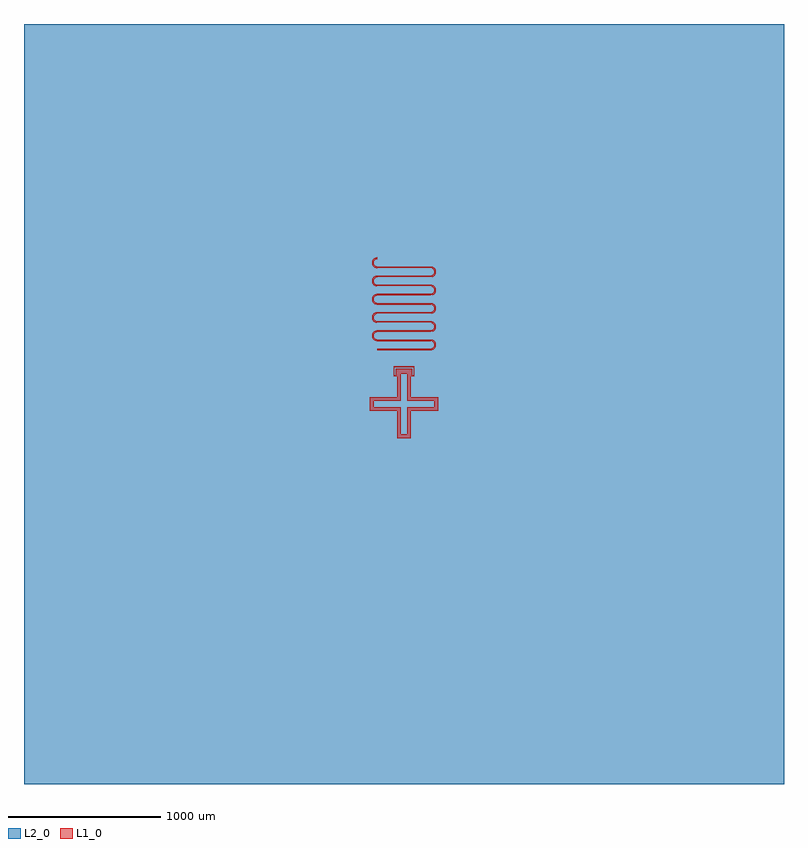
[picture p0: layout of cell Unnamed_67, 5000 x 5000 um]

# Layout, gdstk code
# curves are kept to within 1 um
import gdstk
lib = gdstk.Library(unit=1e-6, precision=1e-09)
def R(c, l, rs):  # rectangles x0, y0, x1, y1
    for r in rs: c.add(gdstk.rectangle(r[:2], r[2:], *l))
def P(c, l, *ps):  # polygons
    for p in ps: c.add(gdstk.Polygon(p, *l))
L1_0 = (1, 0)
L2_0 = (2, 0)

unnamed_68 = lib.new_cell('Unnamed_68')
P(unnamed_68, L1_0, [(-5,-5),(-5,55),(0,55),(0,0),(10,0),(10,45),(116,45),(116,0),(126,0),(126,55),(-5,55),(-5,60),(131,60),(131,-5),(111,-5),(111,40),(15,40),(15,-5)])

xmon_xl400_xw40_xs24 = lib.new_cell('xmon_XL400_XW40_XS24')
P(xmon_xl400_xw40_xs24, L1_0, [(-44,-224),(-44,-44),(-224,-44),(-224,44),(-44,44),(-44,200),(-20,200),(-20,20),(-200,20),(-200,-20),(-20,-20),(-20,-200),(20,-200),(20,-20),(200,-20),(200,20),(20,20),(20,200),(-44,200),(-44,224),(44,224),(44,44),(224,44),(224,-44),(44,-44),(44,-224)])

rectangle_s5000_5000_l2_ = lib.new_cell('rectangle_S5000_5000_L2_236c5bc9')
R(rectangle_s5000_5000_l2_, L2_0, [(0,0,5000,5000)])

unnamed_72 = lib.new_cell('Unnamed_72')
P(unnamed_72, L1_0, [(0,-5),(0,5),(349.96,5),(359.291,6.791),(366.069,10.849),(371.243,16.82),(374.295,24.106),(374.921,31.981),(373.058,39.658),(368.893,46.371),(362.842,51.449),(355.508,54.385),(-3.327,55.158),(-16.038,58.89),(-27.166,67.93),(-33.735,80.673),(-34.785,93.879),(-31.838,104.54),(-24.945,114.552),(-16.038,121.11),(-4.431,124.719),(351.586,125.051),(360.745,127.427),(368.893,133.629),(373.872,142.577),(374.921,151.981),(372.74,160.385),(367.252,168.093),(360.023,172.902),(351.586,174.949),(-7.711,175.859),(-17.017,179.415),(-24.945,185.448),(-30.851,193.47),(-34.259,202.832),(-34.891,212.774),(-32.696,222.491),(-27.852,231.197),(-20.752,238.185),(-11.971,242.89),(-1.11,244.983),(352.376,245.114),(361.455,247.78),(368.893,253.629),(373.872,262.577),(374.921,271.981),(372.74,280.385),(367.252,288.093),(360.023,292.902),(351.586,294.949),(-6.624,295.632),(-15.043,298.397),(-22.498,303.188),(-28.511,309.698),(-33.076,318.552),(-34.891,327.226),(-34.259,337.168),(-31.36,345.543),(-25.711,353.748),(-15.043,361.603),(-1.11,364.983),(352.376,365.114),(361.455,367.78),(368.893,373.629),(373.624,381.824),(374.971,391.19),(372.74,400.385),(367.817,407.536),(360.745,412.573),(351.586,414.949),(-6.624,415.632),(-15.043,418.397),(-22.498,423.188),(-28.511,429.698),(-32.696,437.509),(-34.785,453.879),(-32.696,462.491),(-28.511,470.302),(-16.038,481.11),(-1.11,484.983),(352.376,485.114),(361.455,487.78),(368.893,493.629),(373.624,501.824),(374.971,511.19),(372.74,520.385),(367.817,527.536),(360.745,532.573),(351.586,534.949),(-6.624,535.632),(-15.043,538.397),(-22.498,543.188),(-32.283,556.478),(-34.891,572.774),(-33.076,581.448),(-29.14,589.388),(-23.337,596.085),(-16.038,601.11),(0,605),(0,595),(-9.291,593.209),(-17.252,588.093),(-22.74,580.385),(-24.971,571.19),(-23.624,561.824),(-18.893,553.629),(-12.155,548.154),(-3.165,545.202),(351.11,544.983),(360.921,543.253),(369.847,538.829),(377.166,532.07),(382.696,522.491),(384.891,512.774),(384.259,502.832),(380.851,493.47),(374.945,485.448),(367.017,479.415),(357.711,475.859),(-1.586,474.949),(-10.745,472.573),(-17.817,467.536),(-23.058,459.658),(-24.996,450.397),(-23.353,441.078),(-18.364,433.038),(-10.745,427.427),(-1.586,425.051),(357.711,424.141),(367.979,420.03),(376.452,412.921),(381.838,404.54),(384.785,393.879),(384.259,382.832),(380.851,373.47),(374.945,365.448),(366.038,358.89),(350.04,355),(-1.586,354.949),(-10.745,352.573),(-18.364,346.962),(-23.353,338.922),(-24.996,329.603),(-23.058,320.342),(-17.817,312.464),(-10.745,307.427),(-1.586,305.051),(357.711,304.141),(367.017,300.585),(374.945,294.552),(380.851,286.53),(384.014,278.252),(384.961,268.335),(383.076,258.552),(378.511,249.698),(372.498,243.188),(361.971,237.11),(351.11,235.017),(-2.376,234.886),(-11.455,232.22),(-18.893,226.371),(-23.353,218.922),(-24.996,209.603),(-23.058,200.342),(-17.817,192.464),(-10.745,187.427),(-1.586,185.051),(356.624,184.368),(365.043,181.603),(372.498,176.812),(378.511,170.302),(383.076,161.448),(384.891,152.774),(384.259,142.832),(381.36,134.457),(376.452,127.079),(365.043,118.397),(351.11,115.017),(-2.376,114.886),(-11.455,112.22),(-18.893,106.371),(-23.353,98.922),(-24.996,89.603),(-23.058,80.342),(-17.817,72.464),(-10.745,67.427),(-1.586,65.051),(356.624,64.368),(365.043,61.603),(372.498,56.812),(382.283,43.522),(384.891,27.226),(383.076,18.552),(379.14,10.612),(367.017,-0.585),(351.11,-4.983)])
P(unnamed_72, L2_0, [(0,-11),(0,-5),(351.11,-4.983),(361.971,-2.89),(370.752,1.815),(377.852,8.803),(382.696,17.509),(384.891,27.226),(384.259,37.168),(380.851,46.53),(374.945,54.552),(367.017,60.585),(357.711,64.141),(350.04,65),(-1.586,65.051),(-10.745,67.427),(-17.817,72.464),(-23.058,80.342),(-24.996,89.603),(-23.353,98.922),(-18.364,106.962),(-10.745,112.573),(-1.586,114.949),(350.04,115),(357.711,115.859),(367.979,119.97),(376.452,127.079),(381.838,135.46),(384.785,146.121),(384.259,157.168),(380.851,166.53),(374.945,174.552),(366.038,181.11),(358.79,183.879),(350.04,185),(-1.586,185.051),(-10.745,187.427),(-18.893,193.629),(-23.624,201.824),(-24.971,211.19),(-22.74,220.385),(-17.817,227.536),(-10.745,232.573),(-1.586,234.949),(355.53,235.439),(361.971,237.11),(367.979,239.97),(377.166,247.93),(383.076,258.552),(384.644,265.019),(384.961,271.665),(384.014,278.252),(381.838,284.54),(374.945,294.552),(365.043,301.603),(353.327,304.842),(-4.731,305.452),(-10.745,307.427),(-16.669,311.369),(-20.814,316.152),(-23.872,322.577),(-24.971,328.81),(-24.295,335.894),(-21.65,342.5),(-17.817,347.536),(-10.023,352.902),(-0.793,354.987),(353.327,355.158),(359.861,356.417),(366.038,358.89),(371.636,362.488),(376.452,367.079),(380.311,372.5),(383.076,378.552),(384.644,385.019),(384.961,391.665),(384.014,398.252),(381.838,404.54),(374.945,414.552),(365.043,421.603),(353.327,424.842),(-4.731,425.452),(-10.745,427.427),(-16.069,430.849),(-20.364,435.499),(-23.353,441.078),(-24.845,447.229),(-24.745,453.558),(-23.058,459.658),(-19.894,465.14),(-16.069,469.151),(-11.455,472.22),(-6.279,474.198),(-0.793,474.987),(354.431,475.281),(366.038,478.89),(371.636,482.488),(376.452,487.079),(380.311,492.5),(383.076,498.552),(384.644,505.019),(384.961,511.665),(384.014,518.252),(381.838,524.54),(374.945,534.552),(365.043,541.603),(353.327,544.842),(-4.731,545.452),(-10.745,547.427),(-15.454,550.349),(-19.894,554.86),(-23.058,560.342),(-24.62,565.659),(-24.921,571.981),(-23.624,578.176),(-20.814,583.848),(-17.252,588.093),(-12.155,591.846),(-6.279,594.198),(0,595),(0,589),(-7.061,587.638),(-13.111,583.75),(-17.282,577.892),(-18.977,570.904),(-17.954,563.786),(-14.358,557.559),(-8.706,553.113),(-1.806,551.087),(351.301,550.981),(362.794,548.954),(373.25,543.772),(381.823,535.854),(387.818,525.841),(390.749,514.545),(390.132,501.603),(386.141,490.636),(379.221,481.239),(369.935,474.171),(359.033,470.006),(350.087,469),(-1.205,468.96),(-8.166,467.154),(-13.956,462.891),(-17.748,456.78),(-18.996,450.301),(-17.748,443.22),(-13.956,437.109),(-8.166,432.846),(-1.205,431.04),(350.087,431),(360.297,429.687),(372.167,424.493),(380.987,416.85),(387.818,405.841),(390.749,394.545),(390.132,381.603),(386.141,370.636),(379.221,361.239),(369.935,354.171),(360.297,350.313),(350.087,349),(-1.205,348.96),(-8.166,347.154),(-13.956,342.891),(-17.748,336.78),(-18.996,329.699),(-17.748,323.22),(-13.956,317.109),(-8.166,312.846),(-1.205,311.04),(350.087,311),(359.033,309.994),(369.935,305.829),(378.294,299.674),(385.508,290.501),(389.846,279.666),(390.955,268.049),(389.152,257.826),(384.137,247.289),(376.355,238.591),(371.061,234.821),(364.023,231.471),(351.301,229.019),(-1.205,228.96),(-8.166,227.154),(-13.956,222.891),(-17.748,216.78),(-18.996,209.699),(-17.748,203.22),(-13.956,197.109),(-8.166,192.846),(-1.205,191.04),(350.087,191),(359.033,189.994),(369.935,185.829),(378.294,179.674),(384.84,171.617),(389.152,162.174),(390.955,151.951),(390.132,141.603),(386.737,131.793),(380.987,123.15),(374.31,116.983),(367.622,112.979),(359.033,110.006),(351.301,109.019),(-1.806,108.913),(-8.706,106.887),(-13.956,102.891),(-17.748,96.78),(-18.996,89.699),(-17.748,83.22),(-13.956,77.109),(-8.166,72.846),(-1.205,71.04),(350.087,71),(357.76,70.26),(367.622,67.021),(376.355,61.409),(383.399,53.783),(387.818,45.841),(390.584,35.835),(390.749,25.455),(388.301,15.367),(384.137,7.289),(378.294,0.326),(369.935,-5.829),(361.551,-9.341),(351.301,-10.981)],
  [(0,5),(0,11),(349.913,11),(357.061,12.362),(362.668,15.841),(366.453,20.501),(368.596,26.109),(368.805,32.704),(367.023,38.437),(363.111,43.75),(357.617,47.405),(351.806,48.913),(-0.087,49),(-7.76,49.74),(-15.239,51.936),(-22.167,55.507),(-28.294,60.326),(-32.627,65.169),(-36.737,71.793),(-39.519,79.074),(-40.749,85.455),(-40.872,93.249),(-37.818,105.841),(-34.137,112.711),(-30.119,117.82),(-24.31,123.017),(-18.788,126.443),(-11.551,129.341),(-5.19,130.672),(351.205,131.04),(358.706,133.113),(364.746,138.02),(368.312,144.937),(368.882,152.106),(367.023,158.437),(363.111,163.75),(357.061,167.638),(350.603,168.989),(-0.087,169),(-9.033,170.006),(-19.935,174.171),(-29.221,181.239),(-36.141,190.636),(-40.132,201.603),(-40.872,213.249),(-38.301,224.633),(-32.627,234.831),(-24.31,243.017),(-14.023,248.529),(-1.301,250.981),(351.205,251.04),(358.706,253.113),(364.358,257.559),(367.954,263.786),(368.939,271.506),(367.023,278.437),(363.111,283.75),(357.617,287.405),(351.205,288.96),(-0.087,289),(-9.033,290.006),(-19.935,294.171),(-28.294,300.326),(-34.84,308.383),(-39.519,319.074),(-40.996,329.349),(-39.846,339.666),(-36.141,349.364),(-29.221,358.761),(-23.25,363.772),(-16.439,367.562),(-9.033,369.994),(-1.301,370.981),(351.806,371.087),(358.706,373.113),(364.746,378.02),(368.142,384.359),(368.939,391.506),(367.023,398.437),(363.111,403.75),(357.617,407.405),(351.205,408.96),(-0.087,409),(-7.76,409.74),(-17.622,412.979),(-26.355,418.591),(-33.399,426.217),(-37.818,434.159),(-40.584,444.165),(-40.749,454.545),(-38.301,464.633),(-33.399,473.783),(-27.338,480.557),(-19.935,485.829),(-11.551,489.341),(-1.301,490.981),(351.806,491.087),(358.706,493.113),(364.358,497.559),(367.954,503.786),(368.977,510.904),(367.282,517.892),(363.54,523.327),(357.617,527.405),(351.205,528.96),(-0.087,529),(-7.76,529.74),(-17.622,532.979),(-26.355,538.591),(-33.399,546.217),(-37.818,554.159),(-40.584,564.165),(-40.749,574.545),(-38.301,584.633),(-33.399,593.783),(-26.355,601.409),(-18.788,606.443),(-9.033,609.994),(0,611),(0,605),(-7.711,604.141),(-14.033,602.064),(-20.752,598.185),(-25.711,593.748),(-31.838,584.54),(-34.891,572.774),(-34.785,566.121),(-33.422,559.608),(-30.851,553.47),(-27.166,547.93),(-17.979,539.97),(-11.971,537.11),(-5.53,535.439),(349.96,535),(357.043,533.987),(364.176,530.591),(369.894,525.14),(373.353,518.922),(374.921,511.981),(374.469,504.88),(371.65,497.5),(367.252,491.907),(361.455,487.78),(354.731,485.452),(-3.327,484.842),(-9.861,483.583),(-16.038,481.11),(-25.711,473.748),(-29.741,468.453),(-32.696,462.491),(-34.996,450.555),(-33.076,438.552),(-30.311,432.5),(-26.452,427.079),(-21.636,422.488),(-16.038,418.89),(-9.861,416.417),(-3.327,415.158),(354.731,414.548),(362.155,411.846),(367.817,407.536),(372.399,401.101),(374.745,393.558),(374.62,385.659),(372.036,378.194),(367.252,371.907),(361.455,367.78),(355.508,365.615),(349.96,365),(-3.327,364.842),(-9.861,363.583),(-16.038,361.11),(-21.636,357.512),(-26.452,352.921),(-30.311,347.5),(-33.076,341.448),(-34.996,329.445),(-32.696,317.509),(-29.741,311.547),(-25.711,306.252),(-16.038,298.89),(-9.861,296.417),(-3.327,295.158),(354.731,294.548),(361.455,292.22),(367.252,288.093),(371.65,282.5),(374.295,275.894),(374.971,268.81),(373.624,261.824),(370.364,255.499),(365.454,250.349),(357.801,246.249),(349.96,245),(-3.327,244.842),(-9.861,243.583),(-16.038,241.11),(-21.636,237.512),(-26.452,232.921),(-30.311,227.5),(-33.076,221.448),(-34.996,209.445),(-32.696,197.509),(-29.741,191.547),(-25.711,186.252),(-16.038,178.89),(-9.861,176.417),(-3.327,175.158),(354.731,174.548),(360.745,172.573),(366.669,168.631),(370.814,163.848),(373.872,157.423),(374.971,151.19),(374.295,144.106),(372.036,138.194),(368.364,133.038),(360.745,127.427),(350.793,125.013),(-3.327,124.842),(-9.861,123.583),(-16.038,121.11),(-21.636,117.512),(-26.452,112.921),(-30.311,107.5),(-33.076,101.448),(-34.996,89.445),(-32.696,77.509),(-29.741,71.547),(-25.711,66.252),(-16.038,58.89),(-9.861,56.417),(-3.327,55.158),(354.731,54.548),(360.745,52.573),(366.069,49.151),(370.364,44.501),(373.353,38.922),(374.845,32.771),(374.745,26.442),(373.353,21.078),(370.364,15.499),(366.669,11.369),(362.155,8.154),(357.043,6.013),(350.793,5.013)])

unnamed_73 = lib.new_cell('Unnamed_73')
P(unnamed_73, L1_0, [(0,-5),(0,5),(349.96,5),(359.291,6.791),(366.069,10.849),(371.243,16.82),(374.295,24.106),(374.921,31.981),(373.058,39.658),(368.893,46.371),(362.842,51.449),(355.508,54.385),(-3.327,55.158),(-16.038,58.89),(-27.166,67.93),(-33.735,80.673),(-34.785,93.879),(-31.838,104.54),(-24.945,114.552),(-16.038,121.11),(-4.431,124.719),(351.586,125.051),(360.745,127.427),(368.893,133.629),(373.872,142.577),(374.921,151.981),(372.74,160.385),(367.252,168.093),(360.023,172.902),(351.586,174.949),(-7.711,175.859),(-17.017,179.415),(-24.945,185.448),(-30.851,193.47),(-34.259,202.832),(-34.891,212.774),(-32.696,222.491),(-27.852,231.197),(-20.752,238.185),(-11.971,242.89),(-1.11,244.983),(352.376,245.114),(361.455,247.78),(368.893,253.629),(373.872,262.577),(374.921,271.981),(372.74,280.385),(367.252,288.093),(360.023,292.902),(351.586,294.949),(-6.624,295.632),(-15.043,298.397),(-22.498,303.188),(-28.511,309.698),(-33.076,318.552),(-34.891,327.226),(-34.259,337.168),(-31.36,345.543),(-25.711,353.748),(-15.043,361.603),(-1.11,364.983),(352.376,365.114),(361.455,367.78),(368.893,373.629),(373.624,381.824),(374.971,391.19),(372.74,400.385),(367.817,407.536),(360.745,412.573),(351.586,414.949),(-6.624,415.632),(-15.043,418.397),(-22.498,423.188),(-28.511,429.698),(-32.696,437.509),(-34.785,453.879),(-32.696,462.491),(-28.511,470.302),(-16.038,481.11),(-1.11,484.983),(352.376,485.114),(361.455,487.78),(368.893,493.629),(373.624,501.824),(374.971,511.19),(372.74,520.385),(367.817,527.536),(360.745,532.573),(351.586,534.949),(-6.624,535.632),(-15.043,538.397),(-22.498,543.188),(-32.283,556.478),(-34.891,572.774),(-33.076,581.448),(-29.14,589.388),(-23.337,596.085),(-16.038,601.11),(0,605),(0,595),(-9.291,593.209),(-17.252,588.093),(-22.74,580.385),(-24.971,571.19),(-23.624,561.824),(-18.893,553.629),(-12.155,548.154),(-3.165,545.202),(351.11,544.983),(360.921,543.253),(369.847,538.829),(377.166,532.07),(382.696,522.491),(384.891,512.774),(384.259,502.832),(380.851,493.47),(374.945,485.448),(367.017,479.415),(357.711,475.859),(-1.586,474.949),(-10.745,472.573),(-17.817,467.536),(-23.058,459.658),(-24.996,450.397),(-23.353,441.078),(-18.364,433.038),(-10.745,427.427),(-1.586,425.051),(357.711,424.141),(367.979,420.03),(376.452,412.921),(381.838,404.54),(384.785,393.879),(384.259,382.832),(380.851,373.47),(374.945,365.448),(366.038,358.89),(350.04,355),(-1.586,354.949),(-10.745,352.573),(-18.364,346.962),(-23.353,338.922),(-24.996,329.603),(-23.058,320.342),(-17.817,312.464),(-10.745,307.427),(-1.586,305.051),(357.711,304.141),(367.017,300.585),(374.945,294.552),(380.851,286.53),(384.014,278.252),(384.961,268.335),(383.076,258.552),(378.511,249.698),(372.498,243.188),(361.971,237.11),(351.11,235.017),(-2.376,234.886),(-11.455,232.22),(-18.893,226.371),(-23.353,218.922),(-24.996,209.603),(-23.058,200.342),(-17.817,192.464),(-10.745,187.427),(-1.586,185.051),(356.624,184.368),(365.043,181.603),(372.498,176.812),(378.511,170.302),(383.076,161.448),(384.891,152.774),(384.259,142.832),(381.36,134.457),(376.452,127.079),(365.043,118.397),(351.11,115.017),(-2.376,114.886),(-11.455,112.22),(-18.893,106.371),(-23.353,98.922),(-24.996,89.603),(-23.058,80.342),(-17.817,72.464),(-10.745,67.427),(-1.586,65.051),(356.624,64.368),(365.043,61.603),(372.498,56.812),(382.283,43.522),(384.891,27.226),(383.076,18.552),(379.14,10.612),(367.017,-0.585),(351.11,-4.983)])
P(unnamed_73, L2_0, [(0,-11),(0,-5),(351.11,-4.983),(361.971,-2.89),(370.752,1.815),(377.852,8.803),(382.696,17.509),(384.891,27.226),(384.259,37.168),(380.851,46.53),(374.945,54.552),(367.017,60.585),(357.711,64.141),(350.04,65),(-1.586,65.051),(-10.745,67.427),(-17.817,72.464),(-23.058,80.342),(-24.996,89.603),(-23.353,98.922),(-18.364,106.962),(-10.745,112.573),(-1.586,114.949),(350.04,115),(357.711,115.859),(367.979,119.97),(376.452,127.079),(381.838,135.46),(384.785,146.121),(384.259,157.168),(380.851,166.53),(374.945,174.552),(366.038,181.11),(358.79,183.879),(350.04,185),(-1.586,185.051),(-10.745,187.427),(-18.893,193.629),(-23.624,201.824),(-24.971,211.19),(-22.74,220.385),(-17.817,227.536),(-10.745,232.573),(-1.586,234.949),(355.53,235.439),(361.971,237.11),(367.979,239.97),(377.166,247.93),(383.076,258.552),(384.644,265.019),(384.961,271.665),(384.014,278.252),(381.838,284.54),(374.945,294.552),(365.043,301.603),(353.327,304.842),(-4.731,305.452),(-10.745,307.427),(-16.669,311.369),(-20.814,316.152),(-23.872,322.577),(-24.971,328.81),(-24.295,335.894),(-21.65,342.5),(-17.817,347.536),(-10.023,352.902),(-0.793,354.987),(353.327,355.158),(359.861,356.417),(366.038,358.89),(371.636,362.488),(376.452,367.079),(380.311,372.5),(383.076,378.552),(384.644,385.019),(384.961,391.665),(384.014,398.252),(381.838,404.54),(374.945,414.552),(365.043,421.603),(353.327,424.842),(-4.731,425.452),(-10.745,427.427),(-16.069,430.849),(-20.364,435.499),(-23.353,441.078),(-24.845,447.229),(-24.745,453.558),(-23.058,459.658),(-19.894,465.14),(-16.069,469.151),(-11.455,472.22),(-6.279,474.198),(-0.793,474.987),(354.431,475.281),(366.038,478.89),(371.636,482.488),(376.452,487.079),(380.311,492.5),(383.076,498.552),(384.644,505.019),(384.961,511.665),(384.014,518.252),(381.838,524.54),(374.945,534.552),(365.043,541.603),(353.327,544.842),(-4.731,545.452),(-10.745,547.427),(-15.454,550.349),(-19.894,554.86),(-23.058,560.342),(-24.62,565.659),(-24.921,571.981),(-23.624,578.176),(-20.814,583.848),(-17.252,588.093),(-12.155,591.846),(-6.279,594.198),(0,595),(0,589),(-7.061,587.638),(-13.111,583.75),(-17.282,577.892),(-18.977,570.904),(-17.954,563.786),(-14.358,557.559),(-8.706,553.113),(-1.806,551.087),(351.301,550.981),(362.794,548.954),(373.25,543.772),(381.823,535.854),(387.818,525.841),(390.749,514.545),(390.132,501.603),(386.141,490.636),(379.221,481.239),(369.935,474.171),(359.033,470.006),(350.087,469),(-1.205,468.96),(-8.166,467.154),(-13.956,462.891),(-17.748,456.78),(-18.996,450.301),(-17.748,443.22),(-13.956,437.109),(-8.166,432.846),(-1.205,431.04),(350.087,431),(360.297,429.687),(372.167,424.493),(380.987,416.85),(387.818,405.841),(390.749,394.545),(390.132,381.603),(386.141,370.636),(379.221,361.239),(369.935,354.171),(360.297,350.313),(350.087,349),(-1.205,348.96),(-8.166,347.154),(-13.956,342.891),(-17.748,336.78),(-18.996,329.699),(-17.748,323.22),(-13.956,317.109),(-8.166,312.846),(-1.205,311.04),(350.087,311),(359.033,309.994),(369.935,305.829),(378.294,299.674),(385.508,290.501),(389.846,279.666),(390.955,268.049),(389.152,257.826),(384.137,247.289),(376.355,238.591),(371.061,234.821),(364.023,231.471),(351.301,229.019),(-1.205,228.96),(-8.166,227.154),(-13.956,222.891),(-17.748,216.78),(-18.996,209.699),(-17.748,203.22),(-13.956,197.109),(-8.166,192.846),(-1.205,191.04),(350.087,191),(359.033,189.994),(369.935,185.829),(378.294,179.674),(384.84,171.617),(389.152,162.174),(390.955,151.951),(390.132,141.603),(386.737,131.793),(380.987,123.15),(374.31,116.983),(367.622,112.979),(359.033,110.006),(351.301,109.019),(-1.806,108.913),(-8.706,106.887),(-13.956,102.891),(-17.748,96.78),(-18.996,89.699),(-17.748,83.22),(-13.956,77.109),(-8.166,72.846),(-1.205,71.04),(350.087,71),(357.76,70.26),(367.622,67.021),(376.355,61.409),(383.399,53.783),(387.818,45.841),(390.584,35.835),(390.749,25.455),(388.301,15.367),(384.137,7.289),(378.294,0.326),(369.935,-5.829),(361.551,-9.341),(351.301,-10.981)],
  [(0,5),(0,11),(349.913,11),(357.061,12.362),(362.668,15.841),(366.453,20.501),(368.596,26.109),(368.805,32.704),(367.023,38.437),(363.111,43.75),(357.617,47.405),(351.806,48.913),(-0.087,49),(-7.76,49.74),(-15.239,51.936),(-22.167,55.507),(-28.294,60.326),(-32.627,65.169),(-36.737,71.793),(-39.519,79.074),(-40.749,85.455),(-40.872,93.249),(-37.818,105.841),(-34.137,112.711),(-30.119,117.82),(-24.31,123.017),(-18.788,126.443),(-11.551,129.341),(-5.19,130.672),(351.205,131.04),(358.706,133.113),(364.746,138.02),(368.312,144.937),(368.882,152.106),(367.023,158.437),(363.111,163.75),(357.061,167.638),(350.603,168.989),(-0.087,169),(-9.033,170.006),(-19.935,174.171),(-29.221,181.239),(-36.141,190.636),(-40.132,201.603),(-40.872,213.249),(-38.301,224.633),(-32.627,234.831),(-24.31,243.017),(-14.023,248.529),(-1.301,250.981),(351.205,251.04),(358.706,253.113),(364.358,257.559),(367.954,263.786),(368.939,271.506),(367.023,278.437),(363.111,283.75),(357.617,287.405),(351.205,288.96),(-0.087,289),(-9.033,290.006),(-19.935,294.171),(-28.294,300.326),(-34.84,308.383),(-39.519,319.074),(-40.996,329.349),(-39.846,339.666),(-36.141,349.364),(-29.221,358.761),(-23.25,363.772),(-16.439,367.562),(-9.033,369.994),(-1.301,370.981),(351.806,371.087),(358.706,373.113),(364.746,378.02),(368.142,384.359),(368.939,391.506),(367.023,398.437),(363.111,403.75),(357.617,407.405),(351.205,408.96),(-0.087,409),(-7.76,409.74),(-17.622,412.979),(-26.355,418.591),(-33.399,426.217),(-37.818,434.159),(-40.584,444.165),(-40.749,454.545),(-38.301,464.633),(-33.399,473.783),(-27.338,480.557),(-19.935,485.829),(-11.551,489.341),(-1.301,490.981),(351.806,491.087),(358.706,493.113),(364.358,497.559),(367.954,503.786),(368.977,510.904),(367.282,517.892),(363.54,523.327),(357.617,527.405),(351.205,528.96),(-0.087,529),(-7.76,529.74),(-17.622,532.979),(-26.355,538.591),(-33.399,546.217),(-37.818,554.159),(-40.584,564.165),(-40.749,574.545),(-38.301,584.633),(-33.399,593.783),(-26.355,601.409),(-18.788,606.443),(-9.033,609.994),(0,611),(0,605),(-7.711,604.141),(-14.033,602.064),(-20.752,598.185),(-25.711,593.748),(-31.838,584.54),(-34.891,572.774),(-34.785,566.121),(-33.422,559.608),(-30.851,553.47),(-27.166,547.93),(-17.979,539.97),(-11.971,537.11),(-5.53,535.439),(349.96,535),(357.043,533.987),(364.176,530.591),(369.894,525.14),(373.353,518.922),(374.921,511.981),(374.469,504.88),(371.65,497.5),(367.252,491.907),(361.455,487.78),(354.731,485.452),(-3.327,484.842),(-9.861,483.583),(-16.038,481.11),(-25.711,473.748),(-29.741,468.453),(-32.696,462.491),(-34.996,450.555),(-33.076,438.552),(-30.311,432.5),(-26.452,427.079),(-21.636,422.488),(-16.038,418.89),(-9.861,416.417),(-3.327,415.158),(354.731,414.548),(362.155,411.846),(367.817,407.536),(372.399,401.101),(374.745,393.558),(374.62,385.659),(372.036,378.194),(367.252,371.907),(361.455,367.78),(355.508,365.615),(349.96,365),(-3.327,364.842),(-9.861,363.583),(-16.038,361.11),(-21.636,357.512),(-26.452,352.921),(-30.311,347.5),(-33.076,341.448),(-34.996,329.445),(-32.696,317.509),(-29.741,311.547),(-25.711,306.252),(-16.038,298.89),(-9.861,296.417),(-3.327,295.158),(354.731,294.548),(361.455,292.22),(367.252,288.093),(371.65,282.5),(374.295,275.894),(374.971,268.81),(373.624,261.824),(370.364,255.499),(365.454,250.349),(357.801,246.249),(349.96,245),(-3.327,244.842),(-9.861,243.583),(-16.038,241.11),(-21.636,237.512),(-26.452,232.921),(-30.311,227.5),(-33.076,221.448),(-34.996,209.445),(-32.696,197.509),(-29.741,191.547),(-25.711,186.252),(-16.038,178.89),(-9.861,176.417),(-3.327,175.158),(354.731,174.548),(360.745,172.573),(366.669,168.631),(370.814,163.848),(373.872,157.423),(374.971,151.19),(374.295,144.106),(372.036,138.194),(368.364,133.038),(360.745,127.427),(350.793,125.013),(-3.327,124.842),(-9.861,123.583),(-16.038,121.11),(-21.636,117.512),(-26.452,112.921),(-30.311,107.5),(-33.076,101.448),(-34.996,89.445),(-32.696,77.509),(-29.741,71.547),(-25.711,66.252),(-16.038,58.89),(-9.861,56.417),(-3.327,55.158),(354.731,54.548),(360.745,52.573),(366.069,49.151),(370.364,44.501),(373.353,38.922),(374.845,32.771),(374.745,26.442),(373.353,21.078),(370.364,15.499),(366.669,11.369),(362.155,8.154),(357.043,6.013),(350.793,5.013)])

unnamed_67 = lib.new_cell('Unnamed_67')
unnamed_67.add(gdstk.Reference(unnamed_68, (-63,188)))
unnamed_67.add(gdstk.Reference(xmon_xl400_xw40_xs24, (0,0)))
unnamed_67.add(gdstk.Reference(rectangle_s5000_5000_l2_, (-2500,-2500)))
unnamed_67.add(gdstk.Reference(unnamed_72, (-175,359)))
unnamed_67.add(gdstk.Reference(unnamed_73, (-175,359)))

lib.write_gds('Unnamed_67.gds')
